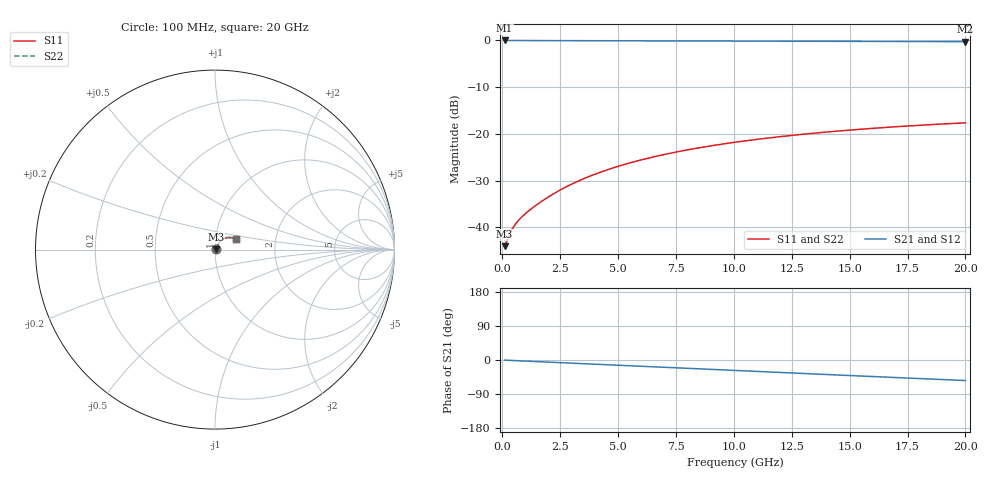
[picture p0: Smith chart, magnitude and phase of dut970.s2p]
! Touchstone file exported from HFSS 2026.1.0
!  File:  C:/ffzhzh/LocalFiles/Ansys_Project_Files/temp_train_TMRDL_970_1783159016_43440.aedt
!  Generated:  05:58:10 PM Jul  4, 2026
!  Design:  TMRDL
!  Project:  temp_train_TMRDL_970_1783159016_43440
! Variables:
!  h_bsmrdl = 2um
!  h_ox = 20um
!  h_rdl = 5um
!  h_sub = 80um
!  h_tmrdl = 2.87um
!  h_tsv = 80um
!  h_via = 3um
!  l_bsmrdl = 300um
!  l_sub = 1363.71um
!  l_tmrdl = 963.71um
!  m_sub = 200um
!  pitch = 25.78um
!  r_tsv = 6um
!  s_tmrdl = 10um
!  w_bsmrdl = 18um
!  w_sub = 500um
!  w_tmrdl = 20.28um
!  x_tsv_center1 = 973.85um
!  x_tsv_center2 = 1291.85um
!  x_tsv_center3 = 2275.84um
!  x_tsv_center4 = 2593.84um
!  x_tsv_center5 = 3577.83um
!  x_tsv_center6 = 3895.83um
# GHz S MA R 50.000000
! Terminal data exported
! Port[1] = TM_RDL1_1_T1
! Port[2] = TM_RDL1_1_T2
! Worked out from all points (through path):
!   200 points, 100 MHz to 20 GHz, reference 50 ohm
!   highest |S21| = -0.05 dB at 100 MHz (marker M1); lowest = -0.3 dB at 20 GHz (marker M2)
!   group delay of S21, straight-line fit = 7.51 ps
!   lowest |S11| = -44.0 dB at 100 MHz (marker M3), VSWR 1.01, Z = 50.6 + j0.163 ohm
!   |S11| at or under -10 dB: start of sweep to end of sweep
!   |S22| runs from -44.0 to -17.7 dB; largest |S21 - S12| = 3e-15
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0.1  0.006307 14.8  0.9939 -0.3  0.9939 -0.3  0.006307 14.8
! Gamma 0 0 0 0
! Port Impedance 50 0 50 0
0.3  0.008258 31.6  0.993 -0.9  0.993 -0.9  0.008258 31.6
0.4  0.0093 35.4  0.9925 -1.2  0.9925 -1.2  0.009301 35.4
0.5  0.01025 37.9  0.9921 -1.5  0.9921 -1.5  0.01025 37.9
0.6  0.01111 39.8  0.9917 -1.8  0.9917 -1.8  0.01111 39.8
0.7  0.0119 41.5  0.9913 -2.1  0.9913 -2.1  0.0119 41.5
1  0.01406 45.8  0.9907 -2.9  0.9907 -2.9  0.01406 45.8
1.5  0.01757 51.5  0.99 -4.3  0.99 -4.3  0.01757 51.5
2.1  0.02201 56.1  0.9895 -5.9  0.9895 -5.9  0.02201 56.1
2.8  0.02745 58.9  0.9889 -7.9  0.9889 -7.9  0.02745 58.9
3.5  0.03301 60.1  0.9882 -9.8  0.9882 -9.8  0.03301 60.1
4.2  0.0386 60.3  0.9874 -11.7  0.9874 -11.7  0.0386 60.3
5  0.04493 59.8  0.9864 -13.9  0.9864 -13.9  0.04493 59.8
5.9  0.05191 58.6  0.9852 -16.4  0.9852 -16.4  0.05191 58.6
6.8  0.0587 57.0  0.9839 -18.9  0.9839 -18.9  0.0587 57.0
8.3  0.06951 53.9  0.9816 -23.0  0.9816 -23.0  0.06951 53.8
10.1  0.08159 49.7  0.9787 -27.9  0.9787 -27.9  0.08159 49.7
11.7  0.09151 45.9  0.9762 -32.2  0.9762 -32.2  0.09151 45.9
13.4  0.1012 41.8  0.9737 -36.7  0.9737 -36.7  0.1012 41.7
15  0.1096 37.9  0.9714 -41.0  0.9714 -41.0  0.1096 37.8
16.7  0.1177 33.7  0.9692 -45.5  0.9692 -45.5  0.1177 33.6
20  0.131 25.7  0.9653 -54.2  0.9653 -54.2  0.131 25.6
